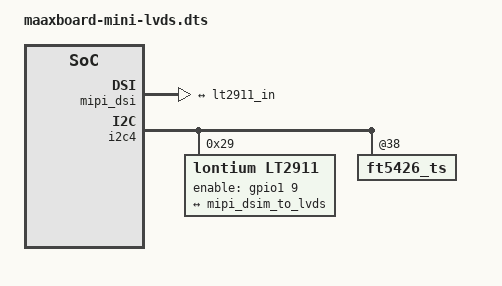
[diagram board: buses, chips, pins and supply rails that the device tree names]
/*
 * Copyright 2019 EMBEST
 *
 * This program is free software; you can redistribute it and/or
 * modify it under the terms of the GNU General Public License
 * as published by the Free Software Foundation; either version 2
 * of the License, or (at your option) any later version.
 *
 * This program is distributed in the hope that it will be useful,
 * but WITHOUT ANY WARRANTY; without even the implied warranty of
 * MERCHANTABILITY or FITNESS FOR A PARTICULAR PURPOSE.  See the
 * GNU General Public License for more details.
 */

#include "maaxboard-mini.dts"

&mipi_dsi {
    panel@0 {
		status = "disabled";
	};

	port@1 {
		mipi_dsim_to_lvds: endpoint {
			remote-endpoint = <&lt2911_in>;
		};
	};
};

&i2c4 {
    lt2911@29 {
		compatible = "lontium,lt2911";
		reg = <0x29>;
		pinctrl-0 = <&pinctrl_mipi_dsi_en>;
		enable-gpio = <&gpio1 9 GPIO_ACTIVE_HIGH>;

		port {
			lt2911_in: endpoint {
				remote-endpoint = <&mipi_dsim_to_lvds>;
			};
		};

		display-timings {
			native-mode = <&timing1>;
			timing1: timing1 {
				clock-frequency = <36000000>;
				hactive = <1024>;
				vactive = <600>;
				hfront-porch = <60>;
				hsync-len = <60>;
				hback-porch = <100>;
				vfront-porch = <2>;
				vsync-len = <5>;
				vback-porch = <10>;
				hsync-active = <0>;
				vsync-active = <0>;
				de-active = <0>;
				pixelclk-active = <0>;
			};
		};
	};

    ft5426_ts@38 {
            focaltech,max-touch-number = <5>;
            focaltech,panel-type = <0x54260002>; /* _FT5426 */
            focaltech,display-coords = <0 0 1024 600>;
    };

};

